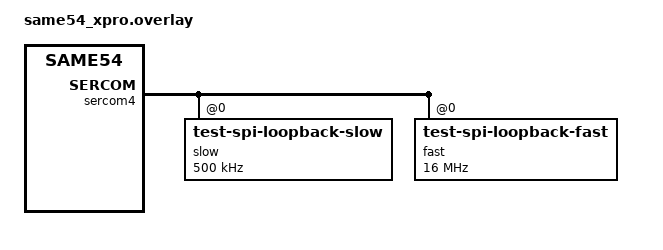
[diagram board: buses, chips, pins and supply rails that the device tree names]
/*
 * Copyright (c) 2020 Stephanos Ioannidis <root@stephanos.io>
 * Copyright (c) 2024 Gerson Fernando Budke <nandojve@gmail.com>
 *
 * SPDX-License-Identifier: Apache-2.0
 */

&dmac {
	status = "okay";
};

&sercom4 {
	/* Internally connect MOSI to MISO for loop-back operation */
	dipo = <3>;
	dopo = <2>;

	/* Assign a CS pin */
	cs-gpios = <&portb 28 GPIO_ACTIVE_LOW>;

	/* Configure DMA */
	dmas = <&dmac 0 12>, <&dmac 1 13>;
	dma-names = "rx", "tx";

	slow@0 {
		compatible = "test-spi-loopback-slow";
		reg = <0>;
		spi-max-frequency = <500000>;
	};
	fast@0 {
		compatible = "test-spi-loopback-fast";
		reg = <0>;
		spi-max-frequency = <16000000>;
	};
};
